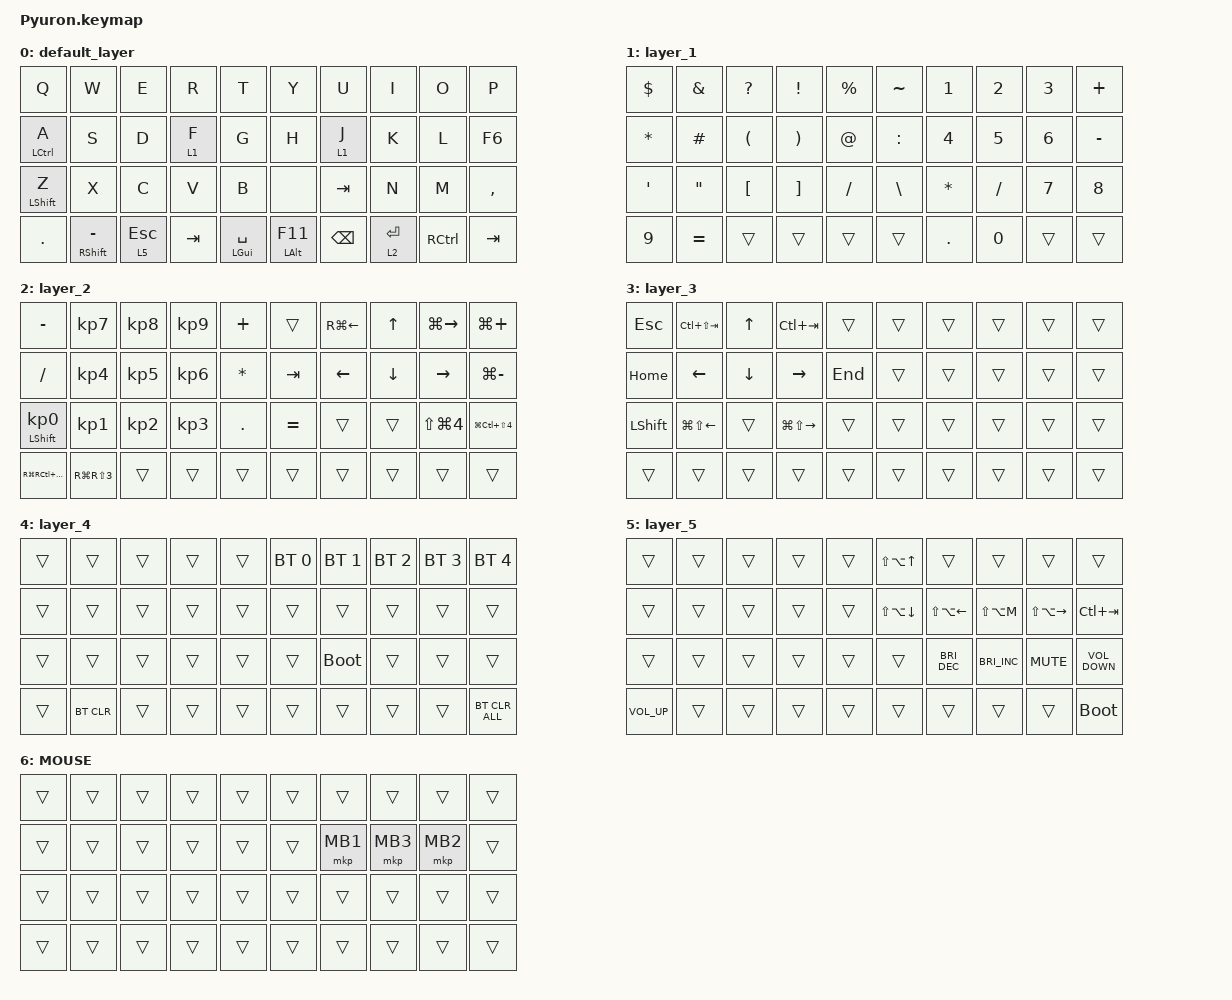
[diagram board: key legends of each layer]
#include <behaviors.dtsi>
#include <dt-bindings/zmk/bt.h>
#include <dt-bindings/zmk/keys.h>
#include <dt-bindings/zmk/pointing.h>

#define MOUSE 6

&mt {
    flavor = "balanced";
    quick-tap-ms = <0>;
};

/ {
    combos {
        compatible = "zmk,combos";

        btn1 {
            bindings = <&mkp MB1>;
            key-positions = <16 17>;
        };

        btn2 {
            bindings = <&mkp MB2>;
            key-positions = <17 18>;
        };
    };

    macros {
        to_layer_0: to_layer_0 {
            compatible = "zmk,behavior-macro-one-param";
            #binding-cells = <1>;
            bindings = <&to 0 &macro_param_1to1 &kp MACRO_PLACEHOLDER>;
            label = "TO_LAYER_0";
        };
    };

    lt_to_layer_0: lt_to_layer_0 {
        compatible = "zmk,behavior-hold-tap";
        label = "LAYER_TAP_TO_0";
        bindings = <&mo>, <&to_layer_0>;

        #binding-cells = <2>;
        tapping-term-ms = <200>;
    };
};

/ {
    behaviors {
    };

    keymap {
        compatible = "zmk,keymap";

        default_layer {
            bindings = <
&kp Q               &kp W                  &kp E         &kp R    &kp T               &kp Y             &kp U          &kp I        &kp O              &kp P
&mt LEFT_CONTROL A  &kp S                  &kp D         &lt 1 F  &kp G               &kp H             &lt 1 J        &kp K        &kp L              &kp F6
&mt LEFT_SHIFT Z    &kp X                  &kp C         &kp V    &kp B               &none             &kp TAB        &kp N        &kp M              &kp COMMA
&kp DOT             &mt RIGHT_SHIFT MINUS  &lt 5 ESCAPE  &kp TAB  &mt LEFT_GUI SPACE  &mt LEFT_ALT F11  &kp BACKSPACE  &lt 2 ENTER  &kp RIGHT_CONTROL  &kp TAB
            >;
        };

        layer_1 {
            bindings = <
&kp DOLLAR        &kp AMPERSAND      &kp QUESTION          &kp EXCLAMATION        &kp PERCENT  &kp TILDE      &kp NUMBER_1  &kp NUMBER_2  &kp NUMBER_3  &kp PLUS
&kp ASTERISK      &kp HASH           &kp LEFT_PARENTHESIS  &kp RIGHT_PARENTHESIS  &kp AT       &kp COLON      &kp NUMBER_4  &kp NUMBER_5  &kp NUMBER_6  &kp MINUS
&kp SINGLE_QUOTE  &kp DOUBLE_QUOTES  &kp LEFT_BRACKET      &kp RIGHT_BRACKET      &kp SLASH    &kp BACKSLASH  &kp ASTERISK  &kp SLASH     &kp NUMBER_7  &kp NUMBER_8
&kp NUMBER_9      &kp EQUAL          &trans                &trans                 &trans       &trans         &kp PERIOD    &kp NUMBER_0  &trans        &trans
            >;
        };

        layer_2 {
            bindings = <
&kp MINUS                   &kp KP_NUMBER_7       &kp KP_NUMBER_8  &kp KP_NUMBER_9  &kp PLUS      &trans     &kp RG(LEFT_ARROW)  &kp UP_ARROW    &kp LG(RIGHT)         &kp LG(PLUS)
&kp SLASH                   &kp KP_NUMBER_4       &kp KP_NUMBER_5  &kp KP_NUMBER_6  &kp ASTERISK  &kp TAB    &kp LEFT            &kp DOWN_ARROW  &kp RIGHT_ARROW       &kp LG(MINUS)
&mt LEFT_SHIFT KP_NUMBER_0  &kp KP_NUMBER_1       &kp KP_NUMBER_2  &kp KP_NUMBER_3  &kp PERIOD    &kp EQUAL  &trans              &trans          &kp LS(LG(NUMBER_4))  &kp LG(LC(LS(NUMBER_4)))
&kp RG(RC(RS(NUMBER_5)))    &kp RG(RS(NUMBER_3))  &trans           &trans           &trans        &trans     &trans              &trans          &trans                &trans
            >;
        };

        layer_3 {
            bindings = <
&kp ESCAPE      &kp LC(LS(TAB))         &kp UP_ARROW    &kp LC(TAB)              &trans   &trans  &trans  &trans  &trans  &trans
&kp HOME        &kp LEFT_ARROW          &kp DOWN_ARROW  &kp RIGHT_ARROW          &kp END  &trans  &trans  &trans  &trans  &trans
&kp LEFT_SHIFT  &kp LG(LS(LEFT_ARROW))  &trans          &kp LG(LS(RIGHT_ARROW))  &trans   &trans  &trans  &trans  &trans  &trans
&trans          &trans                  &trans          &trans                   &trans   &trans  &trans  &trans  &trans  &trans
            >;
        };

        layer_4 {
            bindings = <
&trans  &trans      &trans  &trans  &trans  &bt BT_SEL 0  &bt BT_SEL 1  &bt BT_SEL 2  &bt BT_SEL 3  &bt BT_SEL 4
&trans  &trans      &trans  &trans  &trans  &trans        &trans        &trans        &trans        &trans
&trans  &trans      &trans  &trans  &trans  &trans        &bootloader   &trans        &trans        &trans
&trans  &bt BT_CLR  &trans  &trans  &trans  &trans        &trans        &trans        &trans        &bt BT_CLR_ALL
            >;
        };

        layer_5 {
            bindings = <
&trans           &trans  &trans  &trans  &trans  &kp LS(LA(UP_ARROW))    &trans                  &trans                &trans                   &trans
&trans           &trans  &trans  &trans  &trans  &kp LS(LA(DOWN_ARROW))  &kp LS(LA(LEFT_ARROW))  &kp LS(LA(M))         &kp LS(LA(RIGHT_ARROW))  &kp LC(TAB)
&trans           &trans  &trans  &trans  &trans  &trans                  &kp C_BRIGHTNESS_DEC    &kp C_BRIGHTNESS_INC  &kp K_MUTE               &kp C_VOLUME_DOWN
&kp C_VOLUME_UP  &trans  &trans  &trans  &trans  &trans                  &trans                  &trans                &trans                   &bootloader
            >;
        };

        MOUSE {
            bindings = <
&trans  &trans  &trans  &trans  &trans  &trans  &trans    &trans    &trans    &trans
&trans  &trans  &trans  &trans  &trans  &trans  &mkp MB1  &mkp MB3  &mkp MB2  &trans
&trans  &trans  &trans  &trans  &trans  &trans  &trans    &trans    &trans    &trans
&trans  &trans  &trans  &trans  &trans  &trans  &trans    &trans    &trans    &trans
            >;
        };
    };
};
